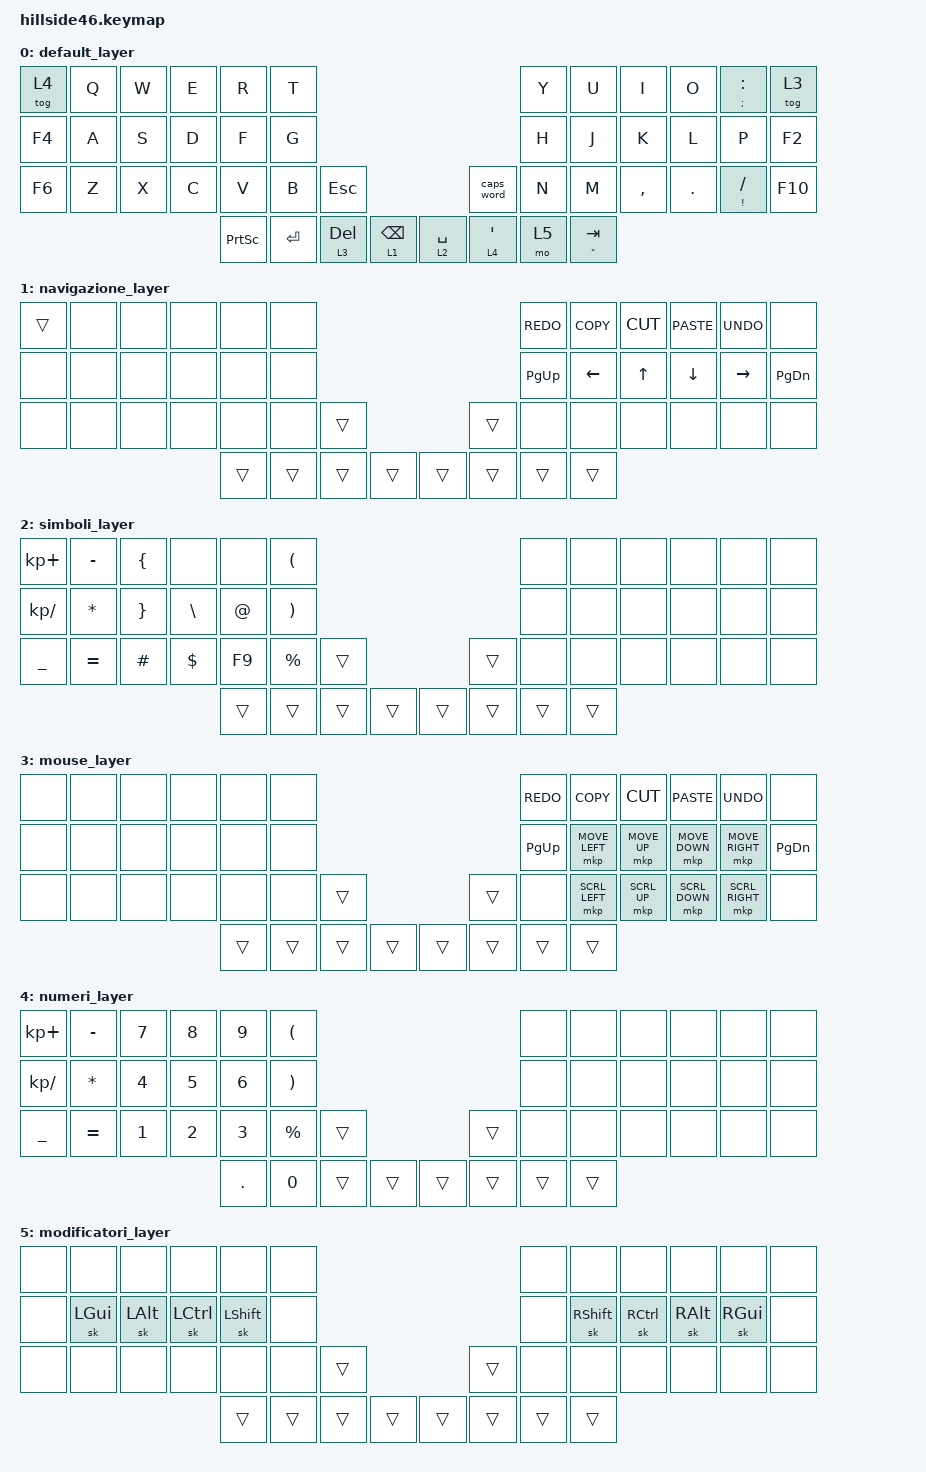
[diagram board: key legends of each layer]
/*
 * Copyright (c) 2021-2022 The ZMK Contributors
 *
 * SPDX-License-Identifier: MIT
 */

#include <behaviors.dtsi>
#include <dt-bindings/zmk/bt.h>
#include <dt-bindings/zmk/ext_power.h>
#include <dt-bindings/zmk/keys.h>
#include <dt-bindings/zmk/outputs.h>
#include <dt-bindings/zmk/pointing.h>


#define Undo   LC(Z)
#define Cut    LC(X)
#define Copy   LC(C)
#define Paste  LC(V)
#define Redo   LC(Y)

#define ZMK_POINTING_DEFAULT_MOVE_VAL 1250
#define ZMK_POINTING_DEFAULT_SCRL_VAL 100

#define U_MOUSE_MOVE_EXPONENT 1
#define U_MOUSE_MOVE_TIME 1500
#define U_MOUSE_MOVE_DELAY 0
#define U_MOUSE_SCROLL_EXPONENT 1
#define U_MOUSE_SCROLL_TIME 5000
#define U_MOUSE_SCROLL_DELAY 0

#define U_BTN1 &mkp MB1
#define U_BTN2 &mkp MB2
#define U_BTN3 &mkp MB3

#define U_MS_D &mmv MOVE_DOWN
#define U_MS_L &mmv MOVE_LEFT
#define U_MS_R &mmv MOVE_RIGHT
#define U_MS_U &mmv MOVE_UP
#define U_WH_D &msc SCRL_DOWN
#define U_WH_L &msc SCRL_LEFT
#define U_WH_R &msc SCRL_RIGHT
#define U_WH_U &msc SCRL_UP

#define QWERTY_L 0
#define NAV_L    1
#define SYM_L    2
#define MOU_L    3
#define NUM_L    4
#define MOD_L    5

/ {
    behaviors {
      skq: sticky_key_quick_release {
        compatible = "zmk,behavior-sticky-key";
        #binding-cells = <1>;
        bindings = <&kp>;
        release-after-ms = <1000>;
        quick-release;
        ignore-modifiers;
      };
    };

        keymap {
                compatible = "zmk,keymap";

                default_layer {

        bindings = <
&tog 4          &kp  Q          &kp  W          &kp  E          &kp  R          &kp  T                                                                                         &kp  Y          &kp  U          &kp  I          &kp  O          &mt SEMI COLON  &tog 3
&kp  F4         &kp  A          &kp  S          &kp  D          &kp  F          &kp  G                                                                                         &kp  H          &kp  J          &kp  K          &kp  L          &kp  P          &kp  F2  
&kp  F6         &kp  Z          &kp  X          &kp  C          &kp  V          &kp  B          &kp  ESC                                                       &caps_word      &kp  N          &kp  M          &kp  COMMA      &kp  DOT        &mt EXCL FSLH   &kp  F10
                                                                &kp  PSCRN      &kp  RET        &lt 3 DEL   &lt 1 BSPC                 &lt 2 SPACE &lt 4 APOS  &mo  5          &mt DQT TAB
        >;
    };

/* NAV   
   */           
                navigazione_layer {

        bindings = <
&trans          &none           &none           &none           &none           &none                                                                                          &kp   K_REDO    &kp   K_COPY    &kp   K_CUT     &kp   K_PASTE   &kp  K_UNDO     &none
&none           &none           &none           &none           &none           &none                                                                                          &kp   PG_UP     &kp  LEFT       &kp   UP        &kp   DOWN      &kp  RIGHT      &kp PG_DN
&none           &none           &none           &none           &none           &none           &trans                                                         &trans          &none           &none           &none           &none           &none           &none
                                                                &trans          &trans          &trans          &trans                         &trans          &trans          &trans          &trans 
        >;
    };
		

/* SYM
 */
                simboli_layer {

        bindings = <
&kp   KP_PLUS   &kp   MINUS     &kp   LBRC      &none           &none           &kp   LPAR                                                                                     &none           &none           &none           &none           &none           &none
&kp   KP_SLASH  &kp   ASTRK     &kp   RBRC      &kp   BACKSLASH &kp   AT        &kp   RPAR                                                                                     &none           &none           &none           &none           &none           &none
&kp   UNDER     &kp   EQUAL     &kp   HASH      &kp   DLLR      &kp   F9        &kp   PRCNT     &trans                                                         &trans          &none           &none           &none           &none           &none           &none
                                                                &trans          &trans          &trans          &trans                         &trans          &trans          &trans          &trans 
        >;
    };
		
/* MOU   
*/
                mouse_layer {

        bindings = <
&none           &none           &none           &none           &none           &none                                                                                          &kp   K_REDO    &kp   K_COPY    &kp   K_CUT     &kp   K_PASTE   &kp  K_UNDO     &none
&none           &none           &none           &none           &none           &none                                                                                          &kp   PG_UP     &mkp  MOVE_LEFT &mkp  MOVE_UP   &mkp  MOVE_DOWN &mkp MOVE_RIGHT &kp PG_DN
&none           &none           &none           &none           &none           &none           &trans                                                         &trans          &none           &mkp  SCRL_LEFT &mkp  SCRL_UP   &mkp  SCRL_DOWN &mkp SCRL_RIGHT &none
                                                                &trans          &trans          &trans          &trans                         &trans          &trans          &trans          &trans 
        >;
    };

/* NUM
 */		
                numeri_layer {

        bindings = <
&kp   KP_PLUS   &kp   MINUS     &kp   N7        &kp   N8        &kp   N9        &kp   LPAR                                                                                     &none           &none           &none           &none           &none           &none  
&kp   KP_SLASH  &kp   ASTRK     &kp   N4        &kp   N5        &kp   N6        &kp   RPAR                                                                                     &none           &none           &none           &none           &none           &none
&kp   UNDER     &kp   EQUAL     &kp   N1        &kp   N2        &kp   N3        &kp   PRCNT     &trans                                                         &trans          &none           &none           &none           &none           &none           &none
                                                                &kp   DOT       &kp   N0        &trans          &trans                         &trans          &trans          &trans          &trans 
        >;
    };

/* MOD
 */
                modificatori_layer {

        bindings = <
&none           &none           &none           &none           &none           &none                                                                                          &none           &none           &none           &none           &none           &none
&none           &sk   LGUI      &sk   LALT      &sk   LCTRL     &sk   LSHFT     &none                                                                                          &none           &sk   RSHIFT    &sk   RCTRL     &sk   RALT      &sk  RGUI       &none
&none           &none           &none           &none           &none           &none           &trans                                                         &trans          &none           &none           &none           &none           &none           &none
                                                                &trans          &trans          &trans          &trans                         &trans          &trans          &trans          &trans  
         >;
    };
          };
};
